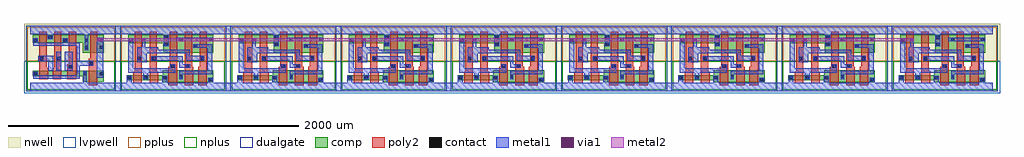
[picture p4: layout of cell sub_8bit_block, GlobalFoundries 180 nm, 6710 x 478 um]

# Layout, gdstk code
import gdstk
lib = gdstk.Library(unit=1e-6, precision=1e-07)
def R(c, l, rs):  # rectangles x0, y0, x1, y1
    for r in rs: c.add(gdstk.rectangle(r[:2], r[2:], *l))
def P(c, l, *ps):  # polygons
    for p in ps: c.add(gdstk.Polygon(p, *l))
nwell = (21, 0)
comp = (22, 0)
poly2 = (30, 0)
pplus = (31, 0)
nplus = (32, 0)
contact = (33, 0)
metal1 = (34, 0)
via1 = (35, 0)
metal2 = (36, 0)
dualgate = (55, 0)
lvpwell = (204, 0)

sub_1bit_block = lib.new_cell('sub_1bit_block')
R(sub_1bit_block, nwell, [(-43,176,715,435)])
P(sub_1bit_block, comp, [(264,34),(264,46.5),(18,46.5),(18,82.5),(264,82.5),(264,116),(612,116),(612,34)],
  [(269,236),(269,302),(28,302),(28,358),(612,358),(612,236)])
P(sub_1bit_block, poly2, [(62,24.5),(62,104.5),(72,104.5),(72,380),(122,380),(122,24.5)],
  [(174,24.5),(174,380),(224,380),(224,104.5),(234,104.5),(234,24.5)],
  [(304,12),(304,138),(314,138),(314,380),(364,380),(364,12)],
  [(416,12),(416,380),(466,380),(466,138),(476,138),(476,12)],
  [(508,12),(508,138),(518,138),(518,380),(568,380),(568,12)])
R(sub_1bit_block, pplus, [(-20,176,692,412)])
R(sub_1bit_block, nplus, [(-20,-20,692,176)])
R(sub_1bit_block, contact, [(583,41,605,63), (25,53.5,47,75.5), (137,53.5,159,75.5), (267,53.5,289,75.5), (379,62,401,84), (323,133,345,155), (423,134.5,445,156.5), (90,185,112,207), (193.5,185,215.5,207), (525,187.5,547,209.5), (481,270,503,292), (277,282,299,304), (35,312,57,334), (379,316.5,401,338.5), (583,316.5,605,338.5), (277,329,299,351)])
R(sub_1bit_block, metal1, [(359,315.5,612,339)])
P(sub_1bit_block, metal1, [(271,279),(271,362),(0,362),(0,422),(664.1,422),(664.1,362),(305,362),(305,279)],
  [(0,-30),(0,30),(19,30),(19,76),(53,76),(53,30),(261,30),(261,76),(295,76),(295,30),(577,30),(577,63.5),(611,63.5),(611,30),(664,30),(664,-30)],
  [(131,53),(131,99),(29,99),(29,335),(63,335),(63,129),(317,129),(317,155.5),(351,155.5),(351,99),(165,99),(165,53)],
  [(378.5,134),(378.5,182),(187.5,182),(187.5,210),(401.5,210),(401.5,157),(452.5,157),(452.5,134)],
  [(88,169),(88,273),(232.5,273),(232.5,256),(449.5,256),(449.5,215.5),(549,215.5),(549,180),(425.5,180),(425.5,233),(156,233),(156,169)],
  [(378.5,53),(378.5,111),(572,111),(572,269.5),(475,269.5),(475,292.5),(604,292.5),(604,87.5),(401.5,87.5),(401.5,53)])
R(sub_1bit_block, dualgate, [(-28,-28,700,420)])
R(sub_1bit_block, lvpwell, [(-43,-43,715,176)])
sub_1bit_block.add(gdstk.Label('VDD', (336,391.5), layer=34, texttype=10))
sub_1bit_block.add(gdstk.Label('VSS', (336,0), layer=34, texttype=10))
sub_1bit_block.add(gdstk.Label('IN0', (364,196), layer=34, texttype=10))
sub_1bit_block.add(gdstk.Label('VDD', (336,391.5), layer=34, texttype=10))
sub_1bit_block.add(gdstk.Label('VSS', (336,0), layer=34, texttype=10))
sub_1bit_block.add(gdstk.Label('OUT0', (588.3,145.2), layer=34, texttype=10))
sub_1bit_block.add(gdstk.Label('IN_C-1', (196.1,251.5), layer=34, texttype=10))
sub_1bit_block.add(gdstk.Label('& Vendor GLOBALFOUNDRIES', (0,200), layer=63, texttype=63))
sub_1bit_block.add(gdstk.Label('& Product GF018hv5v_mcu_sc7', (0,150), layer=63, texttype=63))
sub_1bit_block.add(gdstk.Label('& Version 2015q2v1', (0,100), layer=63, texttype=63))
sub_1bit_block.add(gdstk.Label('& Metric 1.00', (0,50), layer=63, texttype=63))

sub_1bit_block_1 = lib.new_cell('sub_1bit_block$1')
R(sub_1bit_block_1, nwell, [(-43,176,715,435)])
P(sub_1bit_block_1, comp, [(264,34),(264,46.5),(18,46.5),(18,82.5),(264,82.5),(264,116),(612,116),(612,34)],
  [(269,236),(269,302),(28,302),(28,358),(612,358),(612,236)])
P(sub_1bit_block_1, poly2, [(62,24.5),(62,104.5),(72,104.5),(72,380),(122,380),(122,24.5)],
  [(174,24.5),(174,380),(224,380),(224,104.5),(234,104.5),(234,24.5)],
  [(304,12),(304,138),(314,138),(314,380),(364,380),(364,12)],
  [(416,12),(416,380),(466,380),(466,138),(476,138),(476,12)],
  [(508,12),(508,138),(518,138),(518,380),(568,380),(568,12)])
R(sub_1bit_block_1, pplus, [(-20,176,692,412)])
R(sub_1bit_block_1, nplus, [(-20,-20,692,176)])
R(sub_1bit_block_1, contact, [(583,41,605,63), (25,53.5,47,75.5), (137,53.5,159,75.5), (267,53.5,289,75.5), (379,62,401,84), (323,133,345,155), (423,134.5,445,156.5), (90,185,112,207), (193.5,185,215.5,207), (525,187.5,547,209.5), (481,270,503,292), (277,282,299,304), (35,312,57,334), (379,316.5,401,338.5), (583,316.5,605,338.5), (277,329,299,351)])
R(sub_1bit_block_1, metal1, [(359,315.5,612,339)])
P(sub_1bit_block_1, metal1, [(271,279),(271,362),(0,362),(0,422),(664.1,422),(664.1,362),(305,362),(305,279)],
  [(0,-30),(0,30),(19,30),(19,76),(53,76),(53,30),(261,30),(261,76),(295,76),(295,30),(577,30),(577,63.5),(611,63.5),(611,30),(664,30),(664,-30)],
  [(131,53),(131,99),(29,99),(29,335),(63,335),(63,129),(317,129),(317,155.5),(351,155.5),(351,99),(165,99),(165,53)],
  [(378.5,134),(378.5,182),(187.5,182),(187.5,210),(401.5,210),(401.5,157),(452.5,157),(452.5,134)],
  [(88,169),(88,273),(232.5,273),(232.5,256),(449.5,256),(449.5,215.5),(549,215.5),(549,180),(425.5,180),(425.5,233),(156,233),(156,169)],
  [(378.5,53),(378.5,111),(572,111),(572,269.5),(475,269.5),(475,292.5),(604,292.5),(604,87.5),(401.5,87.5),(401.5,53)])
R(sub_1bit_block_1, dualgate, [(-28,-28,700,420)])
R(sub_1bit_block_1, lvpwell, [(-43,-43,715,176)])
sub_1bit_block_1.add(gdstk.Label('VDD', (336,391.5), layer=34, texttype=10))
sub_1bit_block_1.add(gdstk.Label('VSS', (336,0), layer=34, texttype=10))
sub_1bit_block_1.add(gdstk.Label('IN1', (364,196), layer=34, texttype=10))
sub_1bit_block_1.add(gdstk.Label('VDD', (336,391.5), layer=34, texttype=10))
sub_1bit_block_1.add(gdstk.Label('VSS', (336,0), layer=34, texttype=10))
sub_1bit_block_1.add(gdstk.Label('OUT1', (588.3,145.2), layer=34, texttype=10))
sub_1bit_block_1.add(gdstk.Label('IN_C-1', (196.1,251.5), layer=34, texttype=10))
sub_1bit_block_1.add(gdstk.Label('& Vendor GLOBALFOUNDRIES', (0,200), layer=63, texttype=63))
sub_1bit_block_1.add(gdstk.Label('& Product GF018hv5v_mcu_sc7', (0,150), layer=63, texttype=63))
sub_1bit_block_1.add(gdstk.Label('& Version 2015q2v1', (0,100), layer=63, texttype=63))
sub_1bit_block_1.add(gdstk.Label('& Metric 1.00', (0,50), layer=63, texttype=63))

sub_1bit_block_2 = lib.new_cell('sub_1bit_block$2')
R(sub_1bit_block_2, nwell, [(-43,176,715,435)])
P(sub_1bit_block_2, comp, [(264,34),(264,46.5),(18,46.5),(18,82.5),(264,82.5),(264,116),(612,116),(612,34)],
  [(269,236),(269,302),(28,302),(28,358),(612,358),(612,236)])
P(sub_1bit_block_2, poly2, [(62,24.5),(62,104.5),(72,104.5),(72,380),(122,380),(122,24.5)],
  [(174,24.5),(174,380),(224,380),(224,104.5),(234,104.5),(234,24.5)],
  [(304,12),(304,138),(314,138),(314,380),(364,380),(364,12)],
  [(416,12),(416,380),(466,380),(466,138),(476,138),(476,12)],
  [(508,12),(508,138),(518,138),(518,380),(568,380),(568,12)])
R(sub_1bit_block_2, pplus, [(-20,176,692,412)])
R(sub_1bit_block_2, nplus, [(-20,-20,692,176)])
R(sub_1bit_block_2, contact, [(583,41,605,63), (25,53.5,47,75.5), (137,53.5,159,75.5), (267,53.5,289,75.5), (379,62,401,84), (323,133,345,155), (423,134.5,445,156.5), (90,185,112,207), (193.5,185,215.5,207), (525,187.5,547,209.5), (481,270,503,292), (277,282,299,304), (35,312,57,334), (379,316.5,401,338.5), (583,316.5,605,338.5), (277,329,299,351)])
R(sub_1bit_block_2, metal1, [(359,315.5,612,339)])
P(sub_1bit_block_2, metal1, [(271,279),(271,362),(0,362),(0,422),(664.1,422),(664.1,362),(305,362),(305,279)],
  [(0,-30),(0,30),(19,30),(19,76),(53,76),(53,30),(261,30),(261,76),(295,76),(295,30),(577,30),(577,63.5),(611,63.5),(611,30),(664,30),(664,-30)],
  [(131,53),(131,99),(29,99),(29,335),(63,335),(63,129),(317,129),(317,155.5),(351,155.5),(351,99),(165,99),(165,53)],
  [(378.5,134),(378.5,182),(187.5,182),(187.5,210),(401.5,210),(401.5,157),(452.5,157),(452.5,134)],
  [(88,169),(88,273),(232.5,273),(232.5,256),(449.5,256),(449.5,215.5),(549,215.5),(549,180),(425.5,180),(425.5,233),(156,233),(156,169)],
  [(378.5,53),(378.5,111),(572,111),(572,269.5),(475,269.5),(475,292.5),(604,292.5),(604,87.5),(401.5,87.5),(401.5,53)])
R(sub_1bit_block_2, dualgate, [(-28,-28,700,420)])
R(sub_1bit_block_2, lvpwell, [(-43,-43,715,176)])
sub_1bit_block_2.add(gdstk.Label('VDD', (336,391.5), layer=34, texttype=10))
sub_1bit_block_2.add(gdstk.Label('VSS', (336,0), layer=34, texttype=10))
sub_1bit_block_2.add(gdstk.Label('IN2', (364,196), layer=34, texttype=10))
sub_1bit_block_2.add(gdstk.Label('VDD', (336,391.5), layer=34, texttype=10))
sub_1bit_block_2.add(gdstk.Label('VSS', (336,0), layer=34, texttype=10))
sub_1bit_block_2.add(gdstk.Label('OUT2', (588.3,145.2), layer=34, texttype=10))
sub_1bit_block_2.add(gdstk.Label('IN_C-1', (196.1,251.5), layer=34, texttype=10))
sub_1bit_block_2.add(gdstk.Label('& Vendor GLOBALFOUNDRIES', (0,200), layer=63, texttype=63))
sub_1bit_block_2.add(gdstk.Label('& Product GF018hv5v_mcu_sc7', (0,150), layer=63, texttype=63))
sub_1bit_block_2.add(gdstk.Label('& Version 2015q2v1', (0,100), layer=63, texttype=63))
sub_1bit_block_2.add(gdstk.Label('& Metric 1.00', (0,50), layer=63, texttype=63))

sub_1bit_block_3 = lib.new_cell('sub_1bit_block$3')
R(sub_1bit_block_3, nwell, [(-43,176,715,435)])
P(sub_1bit_block_3, comp, [(264,34),(264,46.5),(18,46.5),(18,82.5),(264,82.5),(264,116),(612,116),(612,34)],
  [(269,236),(269,302),(28,302),(28,358),(612,358),(612,236)])
P(sub_1bit_block_3, poly2, [(62,24.5),(62,104.5),(72,104.5),(72,380),(122,380),(122,24.5)],
  [(174,24.5),(174,380),(224,380),(224,104.5),(234,104.5),(234,24.5)],
  [(304,12),(304,138),(314,138),(314,380),(364,380),(364,12)],
  [(416,12),(416,380),(466,380),(466,138),(476,138),(476,12)],
  [(508,12),(508,138),(518,138),(518,380),(568,380),(568,12)])
R(sub_1bit_block_3, pplus, [(-20,176,692,412)])
R(sub_1bit_block_3, nplus, [(-20,-20,692,176)])
R(sub_1bit_block_3, contact, [(583,41,605,63), (25,53.5,47,75.5), (137,53.5,159,75.5), (267,53.5,289,75.5), (379,62,401,84), (323,133,345,155), (423,134.5,445,156.5), (90,185,112,207), (193.5,185,215.5,207), (525,187.5,547,209.5), (481,270,503,292), (277,282,299,304), (35,312,57,334), (379,316.5,401,338.5), (583,316.5,605,338.5), (277,329,299,351)])
R(sub_1bit_block_3, metal1, [(359,315.5,612,339)])
P(sub_1bit_block_3, metal1, [(271,279),(271,362),(0,362),(0,422),(664.1,422),(664.1,362),(305,362),(305,279)],
  [(0,-30),(0,30),(19,30),(19,76),(53,76),(53,30),(261,30),(261,76),(295,76),(295,30),(577,30),(577,63.5),(611,63.5),(611,30),(664,30),(664,-30)],
  [(131,53),(131,99),(29,99),(29,335),(63,335),(63,129),(317,129),(317,155.5),(351,155.5),(351,99),(165,99),(165,53)],
  [(378.5,134),(378.5,182),(187.5,182),(187.5,210),(401.5,210),(401.5,157),(452.5,157),(452.5,134)],
  [(88,169),(88,273),(232.5,273),(232.5,256),(449.5,256),(449.5,215.5),(549,215.5),(549,180),(425.5,180),(425.5,233),(156,233),(156,169)],
  [(378.5,53),(378.5,111),(572,111),(572,269.5),(475,269.5),(475,292.5),(604,292.5),(604,87.5),(401.5,87.5),(401.5,53)])
R(sub_1bit_block_3, dualgate, [(-28,-28,700,420)])
R(sub_1bit_block_3, lvpwell, [(-43,-43,715,176)])
sub_1bit_block_3.add(gdstk.Label('VDD', (336,391.5), layer=34, texttype=10))
sub_1bit_block_3.add(gdstk.Label('VSS', (336,0), layer=34, texttype=10))
sub_1bit_block_3.add(gdstk.Label('IN3', (364,196), layer=34, texttype=10))
sub_1bit_block_3.add(gdstk.Label('VDD', (336,391.5), layer=34, texttype=10))
sub_1bit_block_3.add(gdstk.Label('VSS', (336,0), layer=34, texttype=10))
sub_1bit_block_3.add(gdstk.Label('OUT3', (588.3,145.2), layer=34, texttype=10))
sub_1bit_block_3.add(gdstk.Label('IN_C-1', (196.1,251.5), layer=34, texttype=10))
sub_1bit_block_3.add(gdstk.Label('& Vendor GLOBALFOUNDRIES', (0,200), layer=63, texttype=63))
sub_1bit_block_3.add(gdstk.Label('& Product GF018hv5v_mcu_sc7', (0,150), layer=63, texttype=63))
sub_1bit_block_3.add(gdstk.Label('& Version 2015q2v1', (0,100), layer=63, texttype=63))
sub_1bit_block_3.add(gdstk.Label('& Metric 1.00', (0,50), layer=63, texttype=63))

sub_1bit_block_4 = lib.new_cell('sub_1bit_block$4')
R(sub_1bit_block_4, nwell, [(-43,176,715,435)])
P(sub_1bit_block_4, comp, [(264,34),(264,46.5),(18,46.5),(18,82.5),(264,82.5),(264,116),(612,116),(612,34)],
  [(269,236),(269,302),(28,302),(28,358),(612,358),(612,236)])
P(sub_1bit_block_4, poly2, [(62,24.5),(62,104.5),(72,104.5),(72,380),(122,380),(122,24.5)],
  [(174,24.5),(174,380),(224,380),(224,104.5),(234,104.5),(234,24.5)],
  [(304,12),(304,138),(314,138),(314,380),(364,380),(364,12)],
  [(416,12),(416,380),(466,380),(466,138),(476,138),(476,12)],
  [(508,12),(508,138),(518,138),(518,380),(568,380),(568,12)])
R(sub_1bit_block_4, pplus, [(-20,176,692,412)])
R(sub_1bit_block_4, nplus, [(-20,-20,692,176)])
R(sub_1bit_block_4, contact, [(583,41,605,63), (25,53.5,47,75.5), (137,53.5,159,75.5), (267,53.5,289,75.5), (379,62,401,84), (323,133,345,155), (423,134.5,445,156.5), (90,185,112,207), (193.5,185,215.5,207), (525,187.5,547,209.5), (481,270,503,292), (277,282,299,304), (35,312,57,334), (379,316.5,401,338.5), (583,316.5,605,338.5), (277,329,299,351)])
R(sub_1bit_block_4, metal1, [(359,315.5,612,339)])
P(sub_1bit_block_4, metal1, [(271,279),(271,362),(0,362),(0,422),(664.1,422),(664.1,362),(305,362),(305,279)],
  [(0,-30),(0,30),(19,30),(19,76),(53,76),(53,30),(261,30),(261,76),(295,76),(295,30),(577,30),(577,63.5),(611,63.5),(611,30),(664,30),(664,-30)],
  [(131,53),(131,99),(29,99),(29,335),(63,335),(63,129),(317,129),(317,155.5),(351,155.5),(351,99),(165,99),(165,53)],
  [(378.5,134),(378.5,182),(187.5,182),(187.5,210),(401.5,210),(401.5,157),(452.5,157),(452.5,134)],
  [(88,169),(88,273),(232.5,273),(232.5,256),(449.5,256),(449.5,215.5),(549,215.5),(549,180),(425.5,180),(425.5,233),(156,233),(156,169)],
  [(378.5,53),(378.5,111),(572,111),(572,269.5),(475,269.5),(475,292.5),(604,292.5),(604,87.5),(401.5,87.5),(401.5,53)])
R(sub_1bit_block_4, dualgate, [(-28,-28,700,420)])
R(sub_1bit_block_4, lvpwell, [(-43,-43,715,176)])
sub_1bit_block_4.add(gdstk.Label('VDD', (336,391.5), layer=34, texttype=10))
sub_1bit_block_4.add(gdstk.Label('VSS', (336,0), layer=34, texttype=10))
sub_1bit_block_4.add(gdstk.Label('IN4', (364,196), layer=34, texttype=10))
sub_1bit_block_4.add(gdstk.Label('VDD', (336,391.5), layer=34, texttype=10))
sub_1bit_block_4.add(gdstk.Label('VSS', (336,0), layer=34, texttype=10))
sub_1bit_block_4.add(gdstk.Label('OUT4', (588.3,145.2), layer=34, texttype=10))
sub_1bit_block_4.add(gdstk.Label('IN_C-1', (196.1,251.5), layer=34, texttype=10))
sub_1bit_block_4.add(gdstk.Label('& Vendor GLOBALFOUNDRIES', (0,200), layer=63, texttype=63))
sub_1bit_block_4.add(gdstk.Label('& Product GF018hv5v_mcu_sc7', (0,150), layer=63, texttype=63))
sub_1bit_block_4.add(gdstk.Label('& Version 2015q2v1', (0,100), layer=63, texttype=63))
sub_1bit_block_4.add(gdstk.Label('& Metric 1.00', (0,50), layer=63, texttype=63))

sub_1bit_block_5 = lib.new_cell('sub_1bit_block$5')
R(sub_1bit_block_5, nwell, [(-43,176,715,435)])
P(sub_1bit_block_5, comp, [(264,34),(264,46.5),(18,46.5),(18,82.5),(264,82.5),(264,116),(612,116),(612,34)],
  [(269,236),(269,302),(28,302),(28,358),(612,358),(612,236)])
P(sub_1bit_block_5, poly2, [(62,24.5),(62,104.5),(72,104.5),(72,380),(122,380),(122,24.5)],
  [(174,24.5),(174,380),(224,380),(224,104.5),(234,104.5),(234,24.5)],
  [(304,12),(304,138),(314,138),(314,380),(364,380),(364,12)],
  [(416,12),(416,380),(466,380),(466,138),(476,138),(476,12)],
  [(508,12),(508,138),(518,138),(518,380),(568,380),(568,12)])
R(sub_1bit_block_5, pplus, [(-20,176,692,412)])
R(sub_1bit_block_5, nplus, [(-20,-20,692,176)])
R(sub_1bit_block_5, contact, [(583,41,605,63), (25,53.5,47,75.5), (137,53.5,159,75.5), (267,53.5,289,75.5), (379,62,401,84), (323,133,345,155), (423,134.5,445,156.5), (90,185,112,207), (193.5,185,215.5,207), (525,187.5,547,209.5), (481,270,503,292), (277,282,299,304), (35,312,57,334), (379,316.5,401,338.5), (583,316.5,605,338.5), (277,329,299,351)])
R(sub_1bit_block_5, metal1, [(359,315.5,612,339)])
P(sub_1bit_block_5, metal1, [(271,279),(271,362),(0,362),(0,422),(664.1,422),(664.1,362),(305,362),(305,279)],
  [(0,-30),(0,30),(19,30),(19,76),(53,76),(53,30),(261,30),(261,76),(295,76),(295,30),(577,30),(577,63.5),(611,63.5),(611,30),(664,30),(664,-30)],
  [(131,53),(131,99),(29,99),(29,335),(63,335),(63,129),(317,129),(317,155.5),(351,155.5),(351,99),(165,99),(165,53)],
  [(378.5,134),(378.5,182),(187.5,182),(187.5,210),(401.5,210),(401.5,157),(452.5,157),(452.5,134)],
  [(88,169),(88,273),(232.5,273),(232.5,256),(449.5,256),(449.5,215.5),(549,215.5),(549,180),(425.5,180),(425.5,233),(156,233),(156,169)],
  [(378.5,53),(378.5,111),(572,111),(572,269.5),(475,269.5),(475,292.5),(604,292.5),(604,87.5),(401.5,87.5),(401.5,53)])
R(sub_1bit_block_5, dualgate, [(-28,-28,700,420)])
R(sub_1bit_block_5, lvpwell, [(-43,-43,715,176)])
sub_1bit_block_5.add(gdstk.Label('VDD', (336,391.5), layer=34, texttype=10))
sub_1bit_block_5.add(gdstk.Label('VSS', (336,0), layer=34, texttype=10))
sub_1bit_block_5.add(gdstk.Label('IN5', (364,196), layer=34, texttype=10))
sub_1bit_block_5.add(gdstk.Label('VDD', (336,391.5), layer=34, texttype=10))
sub_1bit_block_5.add(gdstk.Label('VSS', (336,0), layer=34, texttype=10))
sub_1bit_block_5.add(gdstk.Label('OUT5', (588.3,145.2), layer=34, texttype=10))
sub_1bit_block_5.add(gdstk.Label('IN_C-1', (196.1,251.5), layer=34, texttype=10))
sub_1bit_block_5.add(gdstk.Label('& Vendor GLOBALFOUNDRIES', (0,200), layer=63, texttype=63))
sub_1bit_block_5.add(gdstk.Label('& Product GF018hv5v_mcu_sc7', (0,150), layer=63, texttype=63))
sub_1bit_block_5.add(gdstk.Label('& Version 2015q2v1', (0,100), layer=63, texttype=63))
sub_1bit_block_5.add(gdstk.Label('& Metric 1.00', (0,50), layer=63, texttype=63))

sub_1bit_block_6 = lib.new_cell('sub_1bit_block$6')
R(sub_1bit_block_6, nwell, [(-43,176,715,435)])
P(sub_1bit_block_6, comp, [(264,34),(264,46.5),(18,46.5),(18,82.5),(264,82.5),(264,116),(612,116),(612,34)],
  [(269,236),(269,302),(28,302),(28,358),(612,358),(612,236)])
P(sub_1bit_block_6, poly2, [(62,24.5),(62,104.5),(72,104.5),(72,380),(122,380),(122,24.5)],
  [(174,24.5),(174,380),(224,380),(224,104.5),(234,104.5),(234,24.5)],
  [(304,12),(304,138),(314,138),(314,380),(364,380),(364,12)],
  [(416,12),(416,380),(466,380),(466,138),(476,138),(476,12)],
  [(508,12),(508,138),(518,138),(518,380),(568,380),(568,12)])
R(sub_1bit_block_6, pplus, [(-20,176,692,412)])
R(sub_1bit_block_6, nplus, [(-20,-20,692,176)])
R(sub_1bit_block_6, contact, [(583,41,605,63), (25,53.5,47,75.5), (137,53.5,159,75.5), (267,53.5,289,75.5), (379,62,401,84), (323,133,345,155), (423,134.5,445,156.5), (90,185,112,207), (193.5,185,215.5,207), (525,187.5,547,209.5), (481,270,503,292), (277,282,299,304), (35,312,57,334), (379,316.5,401,338.5), (583,316.5,605,338.5), (277,329,299,351)])
R(sub_1bit_block_6, metal1, [(359,315.5,612,339)])
P(sub_1bit_block_6, metal1, [(271,279),(271,362),(0,362),(0,422),(664.1,422),(664.1,362),(305,362),(305,279)],
  [(0,-30),(0,30),(19,30),(19,76),(53,76),(53,30),(261,30),(261,76),(295,76),(295,30),(577,30),(577,63.5),(611,63.5),(611,30),(664,30),(664,-30)],
  [(131,53),(131,99),(29,99),(29,335),(63,335),(63,129),(317,129),(317,155.5),(351,155.5),(351,99),(165,99),(165,53)],
  [(378.5,134),(378.5,182),(187.5,182),(187.5,210),(401.5,210),(401.5,157),(452.5,157),(452.5,134)],
  [(88,169),(88,273),(232.5,273),(232.5,256),(449.5,256),(449.5,215.5),(549,215.5),(549,180),(425.5,180),(425.5,233),(156,233),(156,169)],
  [(378.5,53),(378.5,111),(572,111),(572,269.5),(475,269.5),(475,292.5),(604,292.5),(604,87.5),(401.5,87.5),(401.5,53)])
R(sub_1bit_block_6, dualgate, [(-28,-28,700,420)])
R(sub_1bit_block_6, lvpwell, [(-43,-43,715,176)])
sub_1bit_block_6.add(gdstk.Label('VDD', (336,391.5), layer=34, texttype=10))
sub_1bit_block_6.add(gdstk.Label('VSS', (336,0), layer=34, texttype=10))
sub_1bit_block_6.add(gdstk.Label('IN6', (364,196), layer=34, texttype=10))
sub_1bit_block_6.add(gdstk.Label('VDD', (336,391.5), layer=34, texttype=10))
sub_1bit_block_6.add(gdstk.Label('VSS', (336,0), layer=34, texttype=10))
sub_1bit_block_6.add(gdstk.Label('OUT6', (588.3,145.2), layer=34, texttype=10))
sub_1bit_block_6.add(gdstk.Label('IN_C-1', (196.1,251.5), layer=34, texttype=10))
sub_1bit_block_6.add(gdstk.Label('& Vendor GLOBALFOUNDRIES', (0,200), layer=63, texttype=63))
sub_1bit_block_6.add(gdstk.Label('& Product GF018hv5v_mcu_sc7', (0,150), layer=63, texttype=63))
sub_1bit_block_6.add(gdstk.Label('& Version 2015q2v1', (0,100), layer=63, texttype=63))
sub_1bit_block_6.add(gdstk.Label('& Metric 1.00', (0,50), layer=63, texttype=63))

sub_1bit_block_7 = lib.new_cell('sub_1bit_block$7')
R(sub_1bit_block_7, nwell, [(-43,176,715,435)])
P(sub_1bit_block_7, comp, [(264,34),(264,46.5),(18,46.5),(18,82.5),(264,82.5),(264,116),(612,116),(612,34)],
  [(269,236),(269,302),(28,302),(28,358),(612,358),(612,236)])
P(sub_1bit_block_7, poly2, [(62,24.5),(62,104.5),(72,104.5),(72,380),(122,380),(122,24.5)],
  [(174,24.5),(174,380),(224,380),(224,104.5),(234,104.5),(234,24.5)],
  [(304,12),(304,138),(314,138),(314,380),(364,380),(364,12)],
  [(416,12),(416,380),(466,380),(466,138),(476,138),(476,12)],
  [(508,12),(508,138),(518,138),(518,380),(568,380),(568,12)])
R(sub_1bit_block_7, pplus, [(-20,176,692,412)])
R(sub_1bit_block_7, nplus, [(-20,-20,692,176)])
R(sub_1bit_block_7, contact, [(583,41,605,63), (25,53.5,47,75.5), (137,53.5,159,75.5), (267,53.5,289,75.5), (379,62,401,84), (323,133,345,155), (423,134.5,445,156.5), (90,185,112,207), (193.5,185,215.5,207), (525,187.5,547,209.5), (481,270,503,292), (277,282,299,304), (35,312,57,334), (379,316.5,401,338.5), (583,316.5,605,338.5), (277,329,299,351)])
R(sub_1bit_block_7, metal1, [(359,315.5,612,339)])
P(sub_1bit_block_7, metal1, [(271,279),(271,362),(0,362),(0,422),(664.1,422),(664.1,362),(305,362),(305,279)],
  [(0,-30),(0,30),(19,30),(19,76),(53,76),(53,30),(261,30),(261,76),(295,76),(295,30),(577,30),(577,63.5),(611,63.5),(611,30),(664,30),(664,-30)],
  [(131,53),(131,99),(29,99),(29,335),(63,335),(63,129),(317,129),(317,155.5),(351,155.5),(351,99),(165,99),(165,53)],
  [(378.5,134),(378.5,182),(187.5,182),(187.5,210),(401.5,210),(401.5,157),(452.5,157),(452.5,134)],
  [(88,169),(88,273),(232.5,273),(232.5,256),(449.5,256),(449.5,215.5),(549,215.5),(549,180),(425.5,180),(425.5,233),(156,233),(156,169)],
  [(378.5,53),(378.5,111),(572,111),(572,269.5),(475,269.5),(475,292.5),(604,292.5),(604,87.5),(401.5,87.5),(401.5,53)])
R(sub_1bit_block_7, dualgate, [(-28,-28,700,420)])
R(sub_1bit_block_7, lvpwell, [(-43,-43,715,176)])
sub_1bit_block_7.add(gdstk.Label('VDD', (336,391.5), layer=34, texttype=10))
sub_1bit_block_7.add(gdstk.Label('VSS', (336,0), layer=34, texttype=10))
sub_1bit_block_7.add(gdstk.Label('IN7', (364,196), layer=34, texttype=10))
sub_1bit_block_7.add(gdstk.Label('VDD', (336,391.5), layer=34, texttype=10))
sub_1bit_block_7.add(gdstk.Label('VSS', (336,0), layer=34, texttype=10))
sub_1bit_block_7.add(gdstk.Label('OUT7', (588.3,145.2), layer=34, texttype=10))
sub_1bit_block_7.add(gdstk.Label('IN_C-1', (196.1,251.5), layer=34, texttype=10))
sub_1bit_block_7.add(gdstk.Label('& Vendor GLOBALFOUNDRIES', (0,200), layer=63, texttype=63))
sub_1bit_block_7.add(gdstk.Label('& Product GF018hv5v_mcu_sc7', (0,150), layer=63, texttype=63))
sub_1bit_block_7.add(gdstk.Label('& Version 2015q2v1', (0,100), layer=63, texttype=63))
sub_1bit_block_7.add(gdstk.Label('& Metric 1.00', (0,50), layer=63, texttype=63))

sub_3bit_and = lib.new_cell('sub_3bit_and')
R(sub_3bit_and, nwell, [(-43,176,603,435)])
P(sub_3bit_and, comp, [(362,34.5),(362,74),(18,74),(18,112),(506,112),(506,34.5)],
  [(362,236.5),(362,304.5),(18,304.5),(18,358),(506,358),(506,236.5)])
P(sub_3bit_and, poly2, [(62,52),(62,380),(112,380),(112,134),(122,134),(122,52)],
  [(154,52),(154,134),(164,134),(164,380),(214,380),(214,52)],
  [(256,52),(256,158),(266,158),(266,380),(316,380),(316,52)],
  [(402,12),(402,194),(412,194),(412,380),(462,380),(462,12)])
R(sub_3bit_and, pplus, [(-20,176,580,412)])
R(sub_3bit_and, nplus, [(-20,-20,580,176)])
R(sub_3bit_and, contact, [(25,81,47,103), (365,81,387,103), (477,81,499,103), (263,129,285,151), (409,152,431,174), (69,185,91,207), (185,185,207,207), (375,263,397,285), (477,263,499,285), (375,310,397,332), (477,310,499,332), (25,311.5,47,333.5), (229,311.5,251,333.5), (127,329,149,351)])
R(sub_3bit_and, metal1, [(457,65,501,338), (180,112,212,241.5), (236,112,291,241.5)])
P(sub_3bit_and, metal1, [(125,112),(125,177),(54,177),(54,215),(157,215),(157,112)],
  [(19,57.5),(19,103.5),(53,103.5),(53,80.5),(318.5,80.5),(318.5,282.5),(19,282.5),(19,334),(53,334),(53,305.5),(223,305.5),(223,334),(257,334),(257,305.5),(341.5,305.5),(341.5,180),(431.5,180),(431.5,146),(341.5,146),(341.5,57.5)],
  [(0,-30),(0,30),(364.5,30),(364.5,109),(387.5,109),(387.5,30),(560,30),(560,-30)],
  [(374.5,253),(374.5,362),(155,362),(155,328.5),(121,328.5),(121,362),(0,362),(0,422),(560,422),(560,362),(397.5,362),(397.5,253)])
R(sub_3bit_and, dualgate, [(-28,-28,588,420)])
R(sub_3bit_and, lvpwell, [(-43,-43,603,176)])
sub_3bit_and.add(gdstk.Label('SEL3', (252,196), layer=34, texttype=10))
sub_3bit_and.add(gdstk.Label('VDD', (280,392), layer=34, texttype=10))
sub_3bit_and.add(gdstk.Label('VSS', (280,0), layer=34, texttype=10))
sub_3bit_and.add(gdstk.Label('OUT_C-1', (476,196), layer=34, texttype=10))
sub_3bit_and.add(gdstk.Label('SEL0', (83.8,195.8), layer=34, texttype=10))
sub_3bit_and.add(gdstk.Label('SEL1', (196,196), layer=34, texttype=10))
sub_3bit_and.add(gdstk.Label('& Vendor GLOBALFOUNDRIES', (0,200), layer=63, texttype=63))
sub_3bit_and.add(gdstk.Label('& Product GF018hv5v_mcu_sc7', (0,150), layer=63, texttype=63))
sub_3bit_and.add(gdstk.Label('& Version 2015q2v1', (0,100), layer=63, texttype=63))
sub_3bit_and.add(gdstk.Label('& Metric 1.00', (0,50), layer=63, texttype=63))

sub_8bit_block = lib.new_cell('sub_8bit_block')
R(sub_8bit_block, metal1, [(-646.3,-30,5968.3,30), (879.9,246,902.8,335.7), (2396.1,246,2419,335.7), (3911.8,246,3934.7,335.7), (3153.8,246.1,3176.7,335.8), (4669.8,246.1,4692.7,335.8), (1638.2,246.2,1661.1,335.9), (5404.8,246.2,5427.7,335.9), (122,246.3,144.9,336), (-646.3,362,5968.3,422)])
R(sub_8bit_block, via1, [(5406.2,314.5,5426.2,334.4), (4672.2,314.6,4690.5,333.5), (2399.4,314.8,2416.2,332.4), (124.6,315.1,141.9,333.3), (882.6,315.1,900.1,333.3), (1641.2,315.1,1659,332.8), (3155.6,315.4,3174,333.5), (3914.1,315.4,3932.1,333.5), (-182.8,315.7,-150.4,332.8)])
R(sub_8bit_block, metal2, [(-187.9,312.9,5427.7,335.8)])
sub_8bit_block.add(gdstk.Reference(sub_1bit_block, (-0.3,0)))
sub_8bit_block.add(gdstk.Reference(sub_1bit_block_1, (757.7,0)))
sub_8bit_block.add(gdstk.Reference(sub_1bit_block_2, (1515.7,0)))
sub_8bit_block.add(gdstk.Reference(sub_1bit_block_3, (2273.7,0)))
sub_8bit_block.add(gdstk.Reference(sub_1bit_block_4, (3031.7,0)))
sub_8bit_block.add(gdstk.Reference(sub_1bit_block_5, (3789.7,0)))
sub_8bit_block.add(gdstk.Reference(sub_1bit_block_6, (4547.7,0)))
sub_8bit_block.add(gdstk.Reference(sub_1bit_block_7, (5305.7,0)))
sub_8bit_block.add(gdstk.Reference(sub_3bit_and, (-646.3,0)))

lib.write_gds('sub_8bit_block.gds')
